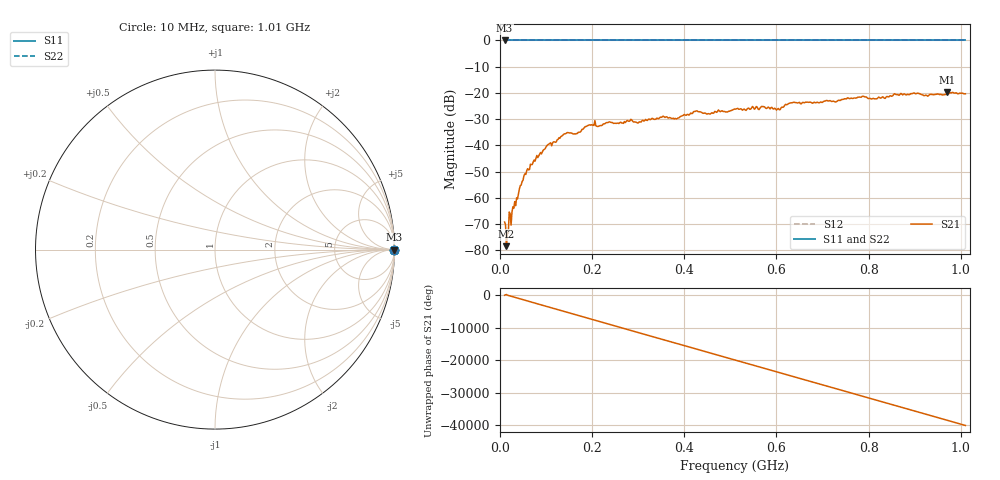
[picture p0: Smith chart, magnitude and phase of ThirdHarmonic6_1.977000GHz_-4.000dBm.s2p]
! 8/16/2025 11:46:28 PM
! C:\ANRITSUVNA\TEMP\TEMP.S2P
! CHANNEL.1
! TR.MEASUREMENT
! RAW.DATA
! RF.CORRECTION.OFF
! AVERAGING.OFF
! IF.BANDWIDTH: 5KHZ
! SWEEPTYPE:  FREQ.SWEEP(Linear)
! Reference Plane Port Info
! PORT:  PORT1  PORT2
! DISTANCE:  0  m  0  m
! TIME:  0  s  0  s
! PHASE.OFFSET:  0  deg.  0  deg.
! LOSS:  0  dB  0  dB
! REF.LOSS:  0  dB  0  dB
! REF.FREQ:  0  Hz  0  Hz
! Power Info
! POWER:  -20  dBm  -20  dBm
! EFF.POWER:  -20  dBm  -20  dBm
! SOURCE.ATTEN:  0  dB  0  dB
! TEST.ATTEN:  0  dB  0  dB
# GHZ S RI R 50.0
! FREQ.GHZ  S11RE  S11IM  S21RE  S21IM  S12RE  S12IM  S22RE  S22IM
!; PortSelection: Port_12
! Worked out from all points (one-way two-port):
!   501 points, 10 MHz to 1.01 GHz, reference 50 ohm
!   highest |S21| = -19.71 dB at 970 MHz (marker M1); lowest = -78.4 dB at 14 MHz (marker M2)
!   lowest |S11| = 0.0 dB at 10 MHz (marker M3)
!   |S11| at or under -10 dB: nowhere
!   |S22| runs from 0.0 to 0.0 dB; largest |S21 - S12| = 1.1
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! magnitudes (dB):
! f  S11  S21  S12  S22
! 10 MHz  0.0  -69.2  0.0  0.0
! 14 MHz  0.0  -78.4  0.0  0.0
! 18 MHz  0.0  -73.4  0.0  0.0
! 24 MHz  0.0  -70.4  0.0  0.0
! 48 MHz  0.0  -53.7  0.0  0.0
! 70 MHz  0.0  -47.2  0.0  0.0
! 106 MHz  0.0  -39.5  0.0  0.0
! 142 MHz  0.0  -35.6  0.0  0.0
! 178 MHz  0.0  -33.9  0.0  0.0
! 202 MHz  0.0  -32.2  0.0  0.0
! 344 MHz  0.0  -29.8  0.0  0.0
! 382 MHz  0.0  -29.8  0.0  0.0
! 424 MHz  0.0  -27.0  0.0  0.0
! 452 MHz  0.0  -27.9  0.0  0.0
! 510 MHz  0.0  -26.1  0.0  0.0
! 570 MHz  0.0  -25.2  0.0  0.0
! 604 MHz  0.0  -25.9  0.0  0.0
! 634 MHz  0.0  -23.7  0.0  0.0
! 678 MHz  0.0  -23.9  0.0  0.0
! 844 MHz  0.0  -21.5  0.0  0.0
! 970 MHz  0.0  -19.7  0.0  0.0
! 1.01 GHz  0.0  -20.3  0.0  0.0
